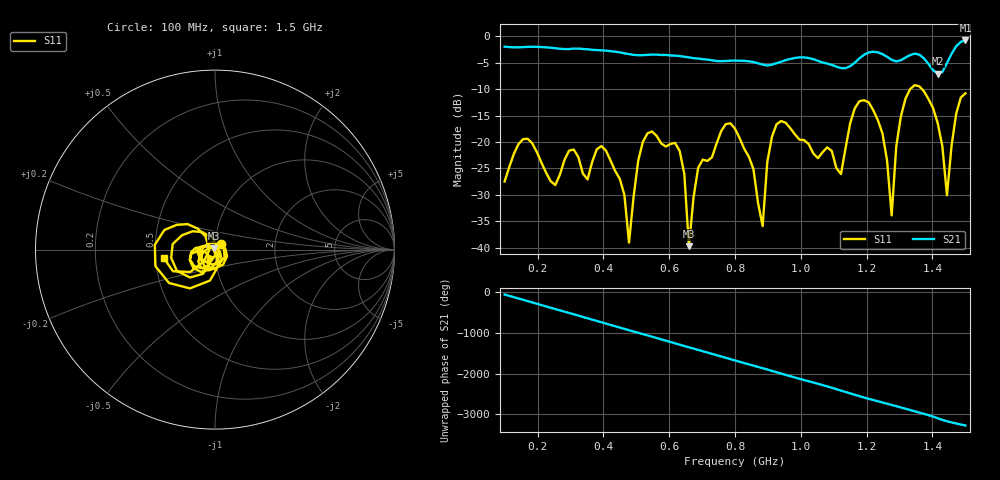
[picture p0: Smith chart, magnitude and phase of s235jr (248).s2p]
! NanoVNA-App
! Date: 2025-09-25 15:06:05
! Start: 100MHz Stop: 1,5GHz Points: 101
! S-Parameter data: F S11 S21 S12 S22
# Hz S RI R 50
!  Frequency  S11_Real  S11_Imag  S21_Real  S21_Imag  S12_Real  S12_Imag  S22_Real  S22_Imag
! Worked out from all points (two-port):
!   101 points, 100 MHz to 1.5 GHz, reference 50 ohm
!   highest |S21| = -0.79 dB at 1.5 GHz (marker M1); lowest = -7.1 dB at 1.416 GHz (marker M2)
!   |S21| within 3 dB of the highest: start of sweep to 637.1 MHz; 1.186 GHz to 1.259 GHz (73.46 MHz wide, 6.01 % of centre) (the widest 2 of 4)
!   lowest |S11| = -39.7 dB at 660 MHz (marker M3), VSWR 1.02, Z = 49.2 + j0.605 ohm
!   |S11| at or under -10 dB: start of sweep to 1.332 GHz; 1.368 GHz to end of sweep
!   S12 and S22 are empty: the file has one direction only
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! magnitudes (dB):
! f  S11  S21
! 100 MHz  -27.5  -2.0
! 156 MHz  -19.5  -2.0
! 338 MHz  -26.0  -2.4
! 408 MHz  -21.6  -2.7
! 478 MHz  -39.0  -3.4
! 520 MHz  -20.0  -3.6
! 576 MHz  -20.3  -3.5
! 632 MHz  -21.7  -3.7
! 660 MHz  -39.7  -4.0
! 688 MHz  -24.9  -4.2
! 800 MHz  -17.5  -4.6
! 884 MHz  -35.9  -5.3
! 926 MHz  -16.7  -5.1
! 1.038 GHz  -22.2  -4.3
! 1.122 GHz  -26.1  -6.0
! 1.206 GHz  -12.5  -3.1
! 1.276 GHz  -33.9  -4.5
! 1.29 GHz  -20.8  -4.7
! 1.332 GHz  -10.0  -3.6
! 1.416 GHz  -16.5  -7.1
! 1.444 GHz  -30.1  -5.1
! 1.5 GHz  -10.8  -0.8
